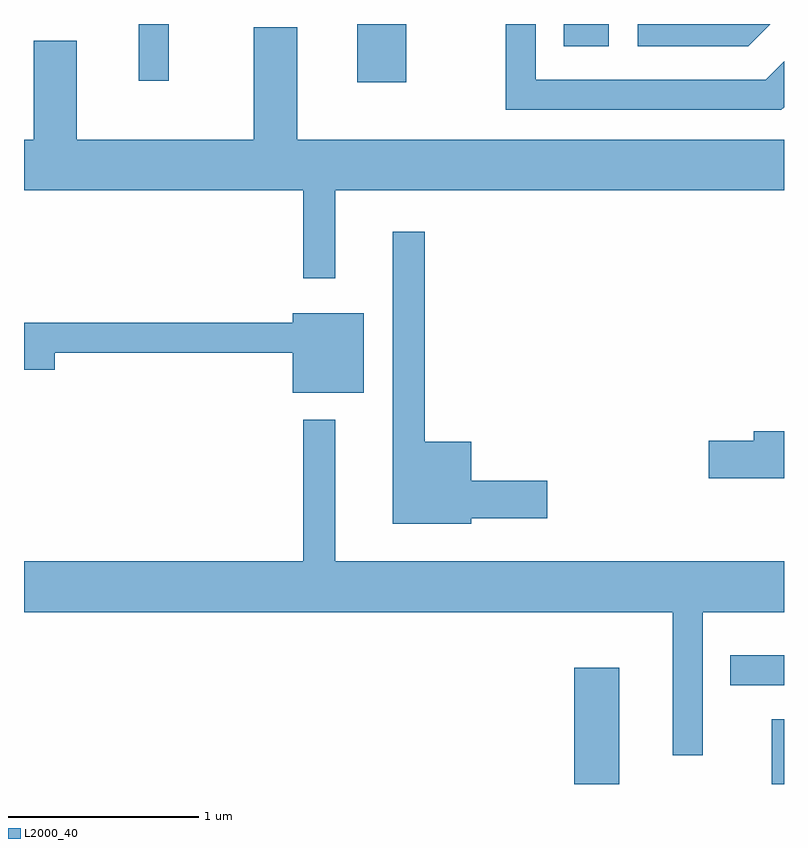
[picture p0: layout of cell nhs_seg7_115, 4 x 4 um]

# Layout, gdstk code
import gdstk
lib = gdstk.Library(unit=1e-6, precision=1e-09)
def R(c, l, rs):  # rectangles x0, y0, x1, y1
    for r in rs: c.add(gdstk.rectangle(r[:2], r[2:], *l))
def P(c, l, *ps):  # polygons
    for p in ps: c.add(gdstk.Polygon(p, *l))
L2000_40 = (2000, 40)

nhs_seg7_115 = lib.new_cell('nhs_seg7_115')
R(nhs_seg7_115, L2000_40, [(190.506,1762.252,190.744,1762.864), (191.546,1762.252,191.611,1762.593), (191.328,1762.771,191.611,1762.929), (189.366,1765.946,189.624,1766.252), (188.216,1765.953,188.374,1766.252), (190.453,1766.136,190.689,1766.252)])
P(nhs_seg7_115, L2000_40, [(191.611,1765.815),(191.611,1766.056),(191.514,1765.959),(190.304,1765.959),(190.304,1766.252),(190.146,1766.252),(190.146,1765.801),(191.597,1765.801)],
  [(191.538,1766.252),(190.841,1766.252),(190.841,1766.136),(191.422,1766.136)],
  [(189.249,1765.376),(191.611,1765.376),(191.611,1765.644),(189.049,1765.644),(189.049,1766.234),(188.821,1766.234),(188.821,1765.644),(187.889,1765.644),(187.889,1766.164),(187.661,1766.164),(187.661,1765.644),(187.611,1765.644),(187.611,1765.376),(189.081,1765.376),(189.081,1764.913),(189.249,1764.913)],
  [(189.964,1763.651),(190.364,1763.651),(190.364,1763.849),(189.964,1763.849),(189.964,1764.054),(189.719,1764.054),(189.719,1765.158),(189.551,1765.158),(189.551,1763.621),(189.964,1763.621)],
  [(189.399,1764.729),(189.026,1764.729),(189.026,1764.679),(187.611,1764.679),(187.611,1764.431),(187.774,1764.431),(187.774,1764.521),(189.026,1764.521),(189.026,1764.311),(189.399,1764.311)],
  [(191.184,1763.156),(191.611,1763.156),(191.611,1763.424),(189.249,1763.424),(189.249,1764.168),(189.081,1764.168),(189.081,1763.424),(187.611,1763.424),(187.611,1763.156),(191.026,1763.156),(191.026,1762.403),(191.184,1762.403)],
  [(191.611,1764.109),(191.451,1764.109),(191.451,1764.059),(191.216,1764.059),(191.216,1763.861),(191.611,1763.861)])

lib.write_gds('nhs_seg7_115.gds')
